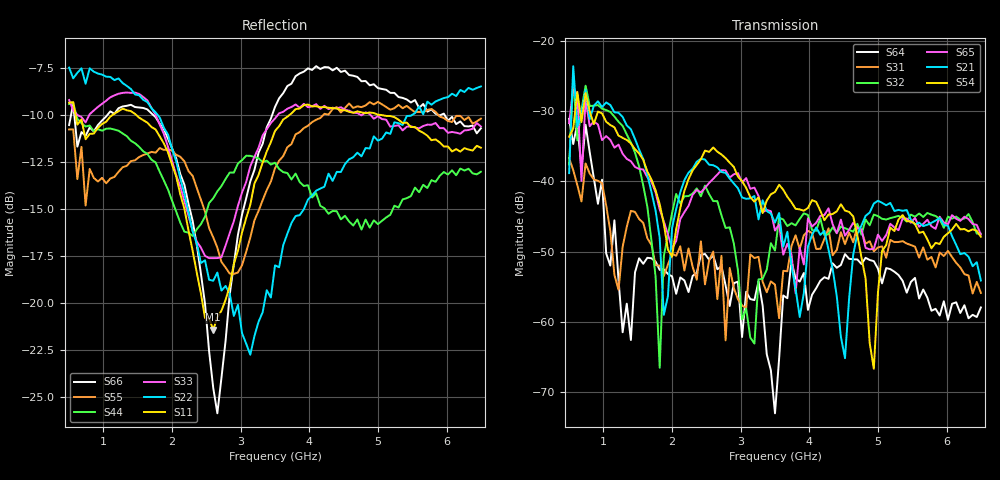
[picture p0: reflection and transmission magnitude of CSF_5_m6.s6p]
!Keysight Technologies,M9804A,MY58100912,A.14.10.03
!Date: Thursday, April 27, 2023 10:28:33
!Correction: S11(C  6-Port  )
!S12(C  6-Port  )
!S13(C  6-Port  )
!S14(C  6-Port  )
!S15(C  6-Port  )
!S16(C  6-Port  )
!S21(C  6-Port  )
!S22(C  6-Port  )
!S23(C  6-Port  )
!S24(C  6-Port  )
!S25(C  6-Port  )
!S26(C  6-Port  )
!S31(C  6-Port  )
!S32(C  6-Port  )
!S33(C  6-Port  )
!S34(C  6-Port  )
!S35(C  6-Port  )
!S36(C  6-Port  )
!S41(C  6-Port  )
!S42(C  6-Port  )
!S43(C  6-Port  )
!S44(C  6-Port  )
!S45(C  6-Port  )
!S46(C  6-Port  )
!S51(C  6-Port  )
!S52(C  6-Port  )
!S53(C  6-Port  )
!S54(C  6-Port  )
!S55(C  6-Port  )
!S56(C  6-Port  )
!S61(C  6-Port  )
!S62(C  6-Port  )
!S63(C  6-Port  )
!S64(C  6-Port  )
!S65(C  6-Port  )
!S66(C  6-Port  )
!S6P File: Measurement: :
# Hz S  RI  R 50
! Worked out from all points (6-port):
!   101 points, 500 MHz to 6.5 GHz, reference 50 ohm
!   strongest paths, dB at 500 MHz, 2 GHz, 3.5 GHz, 5 GHz, 6.5 GHz:
!     S54: -33.7, -50.7, -41.5, -55.8, -47.9
!     S21: -38.8, -46.6, -45.9, -42.8, -54.1
!     S65: -31.7, -49.6, -47.0, -47.6, -47.6
!     S32: -37.7, -44.5, -49.8, -44.9, -47.5
!     S31: -36.7, -50.3, -54.7, -49.4, -55.9
!     S64: -31.1, -53.5, -73.0, -52.4, -57.9
!   lowest |S11| = -21.4 dB at 2.6 GHz (marker M1), VSWR 1.19, Z = 42.5 + j2.29 ohm
!   |S11| at or under -10 dB: 593 MHz to 1.142 GHz (549.3 MHz wide, 63.3 % of centre); 1.47 GHz to 3.72 GHz (2.25 GHz wide, 86.7 % of centre); 4.993 GHz to end of sweep
